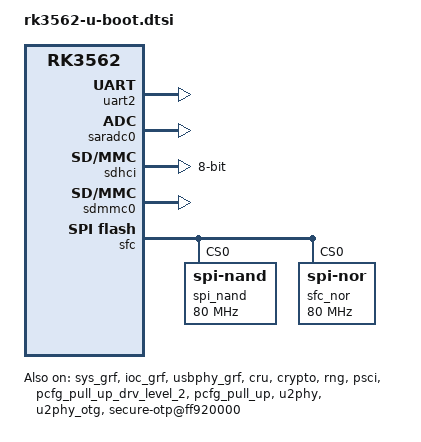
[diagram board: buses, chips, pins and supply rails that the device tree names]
/*
 * (C) Copyright 2022 Rockchip Electronics Co., Ltd
 *
 * SPDX-License-Identifier:     GPL-2.0+
 */

/ {
	aliases {
		mmc0 = &sdhci;
		mmc1 = &sdmmc0;
	};

	chosen {
		stdout-path = &uart2;
		u-boot,spl-boot-order = &sdmmc0, &sdhci, &spi_nand, &spi_nor;
	};

	secure-otp@ff920000 {
		compatible = "rockchip,rk3562-secure-otp";
		reg = <0x0 0xff920000 0x0 0x4000>;
		secure_conf = <0xff020034>;
		mask_addr = <0x0>;
		cru_rst_addr = <0xff130438>;
		u-boot,dm-spl;
		status = "okay";
	};
};

&sys_grf {
	u-boot,dm-spl;
	status = "okay";
};

&ioc_grf {
	u-boot,dm-spl;
	status = "okay";
};

&pmu_grf {
	u-boot,dm-spl;
	status = "okay";
};

&usbphy_grf {
	u-boot,dm-pre-reloc;
	status = "okay";
};

&firmware {
	u-boot,dm-spl;
};

&scmi {
	u-boot,dm-spl;
};

&scmi_clk {
	u-boot,dm-spl;
};

&scmi_shmem {
	u-boot,dm-spl;
};

&cru {
	u-boot,dm-spl;
	status = "okay";
};

&crypto {
	u-boot,dm-spl;
	status = "okay";
};

&rng {
	u-boot,dm-pre-reloc;
	status = "okay";
};

&uart2 {
	clock-frequency = <24000000>;
	u-boot,dm-spl;
	status = "okay";
};

&saradc0 {
	u-boot,dm-pre-reloc;
	status = "okay";
};

&psci {
	u-boot,dm-pre-reloc;
	status = "okay";
};

&sdhci {
	bus-width = <8>;
	u-boot,dm-spl;
	/delete-property/ pinctrl-names;
	/delete-property/ pinctrl-0;
	mmc-hs400-1_8v;
	mmc-hs400-enhanced-strobe;
	fixed-emmc-driver-type = <1>;
	status = "okay";
};

&sdmmc0 {
	u-boot,dm-spl;
	pinctrl-names = "default";
	pinctrl-0 = <&sdmmc0_clk &sdmmc0_cmd &sdmmc0_det &sdmmc0_bus4>;
	status = "okay";
};

&sdmmc0_pins {
	u-boot,dm-spl;
};

&sdmmc0_bus4 {
	u-boot,dm-spl;
};

&sdmmc0_clk {
	u-boot,dm-spl;
};

&sdmmc0_cmd {
	u-boot,dm-spl;
};

&sdmmc0_det {
	u-boot,dm-spl;
};

&sfc {
	u-boot,dm-spl;
	status = "okay";

	#address-cells = <1>;
	#size-cells = <0>;
	spi_nand: flash@0 {
		u-boot,dm-spl;
		compatible = "spi-nand";
		reg = <0>;
		spi-tx-bus-width = <1>;
		spi-rx-bus-width = <4>;
		spi-max-frequency = <80000000>;
	};

	spi_nor: flash@1 {
		u-boot,dm-spl;
		compatible = "jedec,spi-nor";
		label = "sfc_nor";
		reg = <0>;
		spi-tx-bus-width = <1>;
		spi-rx-bus-width = <4>;
		spi-max-frequency = <80000000>;
	};
};

&pinctrl {
	u-boot,dm-spl;
	status = "okay";
};

&gpio0 {
	u-boot,dm-pre-reloc;
};

&gpio1 {
	u-boot,dm-pre-reloc;
};

&gpio2 {
	u-boot,dm-pre-reloc;
};

&gpio3 {
	u-boot,dm-pre-reloc;
};

&gpio4 {
	u-boot,dm-pre-reloc;
};

&pcfg_pull_up_drv_level_2 {
	u-boot,dm-spl;
	status = "okay";
};

&pcfg_pull_up {
	u-boot,dm-spl;
	status = "okay";
};

&u2phy {
	u-boot,dm-pre-reloc;
	status = "okay";
};

&u2phy_otg {
	u-boot,dm-pre-reloc;
	status = "okay";
};
